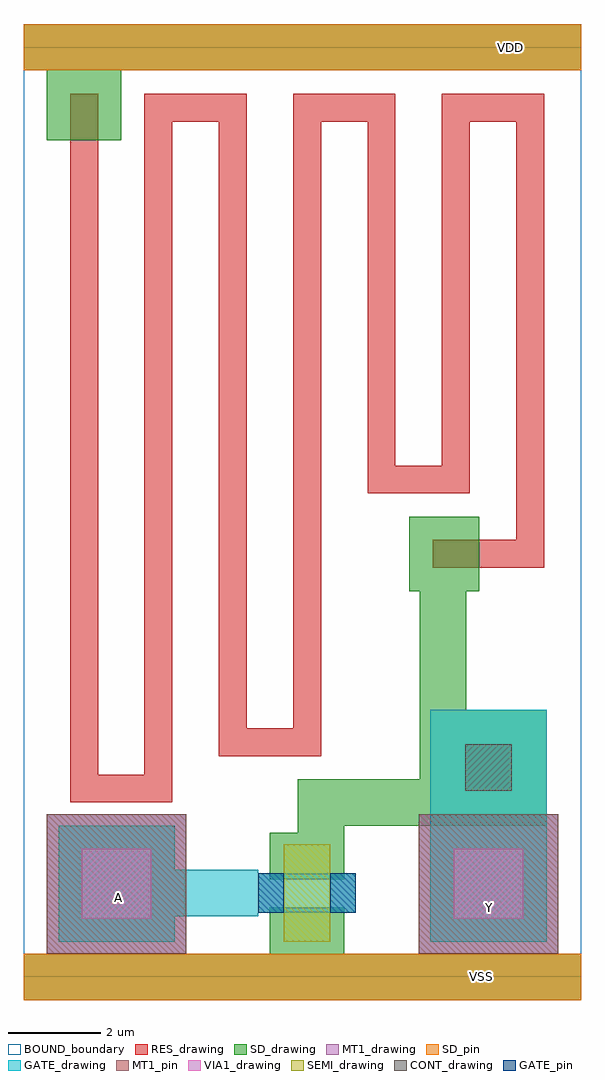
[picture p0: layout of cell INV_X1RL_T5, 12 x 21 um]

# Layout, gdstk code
from math import pi, radians
import gdstk
lib = gdstk.Library(unit=1e-6, precision=1e-09)
def R(c, l, rs):  # rectangles x0, y0, x1, y1
    for r in rs: c.add(gdstk.rectangle(r[:2], r[2:], *l))
def P(c, l, *ps):  # polygons
    for p in ps: c.add(gdstk.Polygon(p, *l))
RES_drawing = (1, 0)
SEMI_drawing = (3, 0)
SD_drawing = (10, 0)
SD_pin = (10, 3)
GATE_drawing = (11, 0)
GATE_pin = (11, 3)
MT1_drawing = (20, 0)
MT1_pin = (20, 3)
CONT_drawing = (30, 0)
VIA1_drawing = (41, 0)
BOUND_boundary = (150, 5)

nch_cdns_772544920640 = lib.new_cell('nch_CDNS_772544920640')
R(nch_cdns_772544920640, SEMI_drawing, [(-1.05,-0.5,1.05,0.5)])
R(nch_cdns_772544920640, SD_drawing, [(-1.3,-0.8,-0.3,0.8), (0.3,-0.8,1.3,0.8)])
R(nch_cdns_772544920640, GATE_drawing, [(-0.425,-1.05,0.425,1.05)])
R(nch_cdns_772544920640, GATE_pin, [(-0.425,-1.05,0.425,-0.5), (-0.425,0.5,0.425,1.05)])

sd_gate_cdns_77254492064 = lib.new_cell('SD_GATE_CDNS_772544920640')
R(sd_gate_cdns_77254492064, SD_drawing, [(-1.25,-1.25,1.25,1.25)])
R(sd_gate_cdns_77254492064, GATE_drawing, [(-1.25,-1.25,1.25,1.25)])
R(sd_gate_cdns_77254492064, CONT_drawing, [(-0.5,-0.5,0.5,0.5)])

gate_mt1_cdns_7725449206 = lib.new_cell('GATE_MT1_CDNS_772544920641')
R(gate_mt1_cdns_7725449206, GATE_drawing, [(-1.25,-1.25,1.25,1.25)])
R(gate_mt1_cdns_7725449206, MT1_drawing, [(-1.25,-1.25,1.25,1.25)])
R(gate_mt1_cdns_7725449206, VIA1_drawing, [(-0.75,-0.75,0.75,0.75)])

inv_x1rl_t5 = lib.new_cell('INV_X1RL_T5')
R(inv_x1rl_t5, SD_drawing, [(0,-0.5,12,0.5), (8.3,8.3,9.8,9.9), (0.5,18,2.1,19.5), (0,19.5,12,20.5)])
R(inv_x1rl_t5, SD_pin, [(0,-0.5,12,0.5), (0,19.5,12,20.5)])
P(inv_x1rl_t5, GATE_drawing, [(4.95,2.3),(4.95,1.3),(5.05,1.3),(5.05,1.425),(5.1,1.425),(5.1,2.175),(5.05,2.175),(5.05,2.3)])
R(inv_x1rl_t5, MT1_drawing, [(0.5,0.5,3.5,3.5), (8.5,0.5,11.5,3.5)])
R(inv_x1rl_t5, MT1_pin, [(0.5,0.5,3.5,3.5), (8.5,0.5,11.5,3.5)])
R(inv_x1rl_t5, BOUND_boundary, [(0,0,12,20)])
inv_x1rl_t5.add(gdstk.FlexPath([(4.95,1.8),(3.25,1.8)], 1, ends="flush", simple_path=True, layer=11, datatype=0))  # GATE_drawing
inv_x1rl_t5.add(gdstk.FlexPath([(2,1.8),(2,2)], 1, ends="extended", simple_path=True, layer=11, datatype=0))  # GATE_drawing
inv_x1rl_t5.add(gdstk.FlexPath([(9.025,8.3),(9.025,3.75)], 1, ends="flush", simple_path=True, layer=10, datatype=0))  # SD_drawing
inv_x1rl_t5.add(gdstk.FlexPath([(6.4,3.1),(6.4,3.75)], 1, ends=(0, 0.5), simple_path=True, layer=10, datatype=0))  # SD_drawing
inv_x1rl_t5.add(gdstk.FlexPath([(6.4,3.75),(8.75,3.75)], 1, ends=(0.5, 0), simple_path=True, layer=10, datatype=0))  # SD_drawing
inv_x1rl_t5.add(gdstk.FlexPath([(1.3,19),(1.3,4.05),(2.9,4.05),(2.9,18.7),(4.5,18.7),(4.5,5.05),(6.1,5.05),(6.1,18.7),(7.7,18.7),(7.7,10.7),(9.3,10.7),(9.3,18.7),(10.9,18.7),(10.9,9.1),(8.8,9.1)], 0.6, ends="flush", simple_path=True, layer=1, datatype=0))  # RES_drawing
inv_x1rl_t5.add(gdstk.Reference(nch_cdns_772544920640, (6.1,1.8), rotation=pi/2, x_reflection=True))
inv_x1rl_t5.add(gdstk.Reference(sd_gate_cdns_77254492064, (10,4.5)))
inv_x1rl_t5.add(gdstk.Reference(gate_mt1_cdns_7725449206, (2,2)))
inv_x1rl_t5.add(gdstk.Reference(gate_mt1_cdns_7725449206, (10,2)))
inv_x1rl_t5.add(gdstk.Label('VDD', (10.475,20), layer=10, texttype=3))
inv_x1rl_t5.add(gdstk.Label('VSS', (9.85,0), layer=10, texttype=3))
inv_x1rl_t5.add(gdstk.Label('Y', (10.025,1.5), layer=20, texttype=3))
inv_x1rl_t5.add(gdstk.Label('A', (2.05,1.7), layer=20, texttype=3))

lib.write_gds('INV_X1RL_T5.gds')
